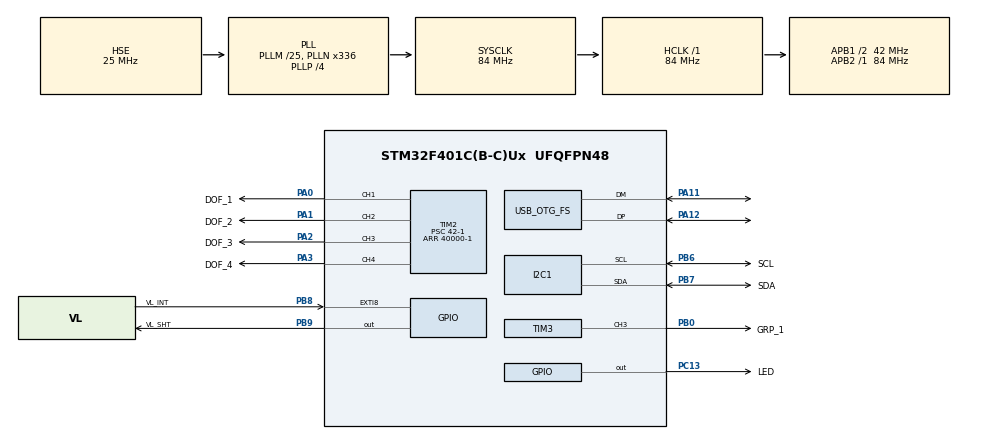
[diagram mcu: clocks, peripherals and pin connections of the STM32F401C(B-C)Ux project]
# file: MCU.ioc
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I2C1.I2C_Mode=I2C_Standard
Mcu.Family=STM32F4
Mcu.Name=STM32F401C(B-C)Ux
Mcu.Package=UFQFPN48
NVIC.EXTI9_5_IRQn=true\:0\:0\:false\:false\:true\:true\:true\:true
NVIC.OTG_FS_IRQn=true\:0\:0\:false\:false\:true\:false\:true\:true
NVIC.PriorityGroup=NVIC_PRIORITYGROUP_4
PA0-WKUP.GPIO_Label=DOF_1
PA0-WKUP.GPIO_Speed=GPIO_SPEED_FREQ_HIGH
PA0-WKUP.Signal=S_TIM2_CH1_ETR
PA1.GPIO_Label=DOF_2
PA1.GPIO_Speed=GPIO_SPEED_FREQ_HIGH
PA1.Signal=S_TIM2_CH2
PA11.Mode=Device_Only
PA11.Signal=USB_OTG_FS_DM
PA12.Mode=Device_Only
PA12.Signal=USB_OTG_FS_DP
PA2.GPIO_Label=DOF_3
PA2.GPIO_Speed=GPIO_SPEED_FREQ_HIGH
PA2.Signal=S_TIM2_CH3
PA3.GPIO_Label=DOF_4
PA3.GPIO_Speed=GPIO_SPEED_FREQ_HIGH
PA3.Signal=S_TIM2_CH4
PB0.GPIO_Label=GRP_1
PB0.GPIO_Speed=GPIO_SPEED_FREQ_HIGH
PB0.Signal=S_TIM3_CH3
PB6.GPIO_Label=SCL
PB6.GPIO_Speed=GPIO_SPEED_FREQ_VERY_HIGH
PB6.Mode=I2C
PB6.Signal=I2C1_SCL
PB7.GPIO_Label=SDA
PB7.GPIO_Speed=GPIO_SPEED_FREQ_VERY_HIGH
PB7.Mode=I2C
PB7.Signal=I2C1_SDA
PB8.GPIO_Label=VL_INT
PB8.GPIO_ModeDefaultEXTI=GPIO_MODE_IT_RISING
PB8.Signal=GPXTI8
PB9.GPIO_Label=VL_SHT
PB9.PinState=GPIO_PIN_SET
PB9.Signal=GPIO_Output
PC13-ANTI_TAMP.GPIO_Label=LED
PC13-ANTI_TAMP.Signal=GPIO_Output
PH0\ -\ OSC_IN.Mode=HSE-External-Oscillator
PH0\ -\ OSC_IN.Signal=RCC_OSC_IN
PH1\ -\ OSC_OUT.Mode=HSE-External-Oscillator
PH1\ -\ OSC_OUT.Signal=RCC_OSC_OUT
ProjectManager.HeapSize=0x200
ProjectManager.StackSize=0x400
ProjectManager.TargetToolchain=STM32CubeIDE
RCC.48MHZClocksFreq_Value=48000000
RCC.AHBFreq_Value=84000000
RCC.APB1CLKDivider=RCC_HCLK_DIV2
RCC.APB1Freq_Value=42000000
RCC.APB1TimFreq_Value=84000000
RCC.APB2Freq_Value=84000000
RCC.APB2TimFreq_Value=84000000
RCC.CortexFreq_Value=84000000
RCC.HCLKFreq_Value=84000000
RCC.HSE_VALUE=25000000
RCC.HSI_VALUE=16000000
RCC.LSE_VALUE=32768
RCC.PLLM=25
RCC.PLLN=336
RCC.PLLP=RCC_PLLP_DIV4
RCC.PLLQ=7
RCC.SYSCLKFreq_VALUE=84000000
RCC.SYSCLKSource=RCC_SYSCLKSOURCE_PLLCLK
RCC.VCOOutputFreq_Value=336000000
SH.S_TIM2_CH1_ETR.0=TIM2_CH1,PWM Generation1 CH1
SH.S_TIM2_CH2.0=TIM2_CH2,PWM Generation2 CH2
SH.S_TIM2_CH3.0=TIM2_CH3,PWM Generation3 CH3
SH.S_TIM2_CH4.0=TIM2_CH4,PWM Generation4 CH4
SH.S_TIM3_CH3.0=TIM3_CH3,PWM Generation3 CH3
TIM2.Channel-PWM\ Generation1\ CH1=TIM_CHANNEL_1
TIM2.Channel-PWM\ Generation2\ CH2=TIM_CHANNEL_2
TIM2.Channel-PWM\ Generation3\ CH3=TIM_CHANNEL_3
TIM2.Channel-PWM\ Generation4\ CH4=TIM_CHANNEL_4
TIM2.Period=40000-1
TIM2.Prescaler=42-1
TIM3.Channel-PWM\ Generation3\ CH3=TIM_CHANNEL_3
TIM3.Period=40000-1
TIM3.Prescaler=42-1
USB_DEVICE.CLASS_NAME_FS=CDC
USB_DEVICE.CONFIGURATION_STRING_CDC_FS=ARb Config
USB_DEVICE.INTERFACE_STRING_CDC_FS=ARb Interface
USB_DEVICE.MANUFACTURER_STRING=0x52525A
USB_DEVICE.PID_CDC_FS=52525
USB_DEVICE.PRODUCT_STRING_CDC_FS=ARb Virtual COM
USB_DEVICE.VID=1235
USB_DEVICE.VirtualMode=Cdc
USB_DEVICE.VirtualModeFS=Cdc_FS
USB_OTG_FS.VirtualMode=Device_Only
USB_OTG_FS.low_power_enable=DISABLE
USB_OTG_FS.lpm_enable=DISABLE
VP_TIM2_VS_ClockSourceINT.Mode=Internal
VP_TIM3_VS_ClockSourceINT.Mode=Internal
VP_USB_DEVICE_VS_USB_DEVICE_CDC_FS.Mode=CDC_FS
board=custom

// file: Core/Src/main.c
/* USER CODE BEGIN Header */
/**
 ******************************************************************************
 * @file           : main.c
 * @brief          : Main program body
 ******************************************************************************
 * @attention
 *
 * Copyright (c) 2024 STMicroelectronics.
 * All rights reserved.
 *
 * This software is licensed under terms that can be found in the LICENSE file
 * in the root directory of this software component.
 * If no LICENSE file comes with this software, it is provided AS-IS.
 *
 ******************************************************************************
 */
/* USER CODE END Header */
#include "main.h"
#include "usb_device.h"

/* USER CODE BEGIN Includes */
#include "servo.h"
#include "usbd_cdc_if.h"
#include "cmd_handler.h"
//#include "custom_daq.h"
#include "vl53l0x_api.h"
/* USER CODE END Includes */

/* USER CODE BEGIN PD */
#define INRANGE(x,m,M)(x > m && x < M)
/* USER CODE END PD */

I2C_HandleTypeDef hi2c1;

TIM_HandleTypeDef htim2;
TIM_HandleTypeDef htim3;

/* USER CODE BEGIN PV */
Servo_t dof1, dof2, dof3, dof4, grp1;

volatile stat_t process = { 0, 0, 0, 0, 0, 0, 0, 0, 0, 0, 0, 0 };
char rxBuff[BUFLEN], txBuff[BUFLEN];

VL53L0X_Dev_t tof;
VL53L0X_RangingMeasurementData_t rangeData;

/* USER CODE END PV */

void SystemClock_Config(void);
static void MX_GPIO_Init(void);
static void MX_TIM2_Init(void);
static void MX_TIM3_Init(void);
static void MX_I2C1_Init(void);
/* USER CODE BEGIN PFP */
void Sensor_Init(void);
void Actuator_Init(void);
/* USER CODE END PFP */

/* USER CODE BEGIN 0 */
void HAL_GPIO_EXTI_Callback(uint16_t GPIO_PIN) {
	process.sensor = 1;

	//Custom_DAQ();
}
/* USER CODE END 0 */

int main(void) {

	/* MCU Configuration--------------------------------------------------------*/

	/* Reset of all peripherals, Initializes the Flash interface and the Systick. */
	HAL_Init();

	/* Configure the system clock */
	SystemClock_Config();

	/* Initialize all configured peripherals */
	MX_GPIO_Init();
	MX_TIM2_Init();
	MX_TIM3_Init();
	MX_USB_DEVICE_Init();
	MX_I2C1_Init();
	/* USER CODE BEGIN 2 */
	HAL_Delay(1000);
	Sensor_Init();
	Actuator_Init();
	/* USER CODE END 2 */

	/* Infinite loop */
	/* USER CODE BEGIN WHILE */
	while (1) {
		if (process.sensor) {
			process.sensor = 0;
			VL53L0X_RangingMeasurementData_t range;
			VL53L0X_GetRangingMeasurementData(&tof, &range);
			if (range.RangeStatus == 0) {
				rangeData = range;
			}

			uint8_t n = 0;
			while (VL53L0X_ClearInterruptMask(&tof, 0) != VL53L0X_ERROR_NONE) {
				if (n == 16) {
					if (VL53L0X_ResetDevice(&tof) == VL53L0X_ERROR_NONE) {
						Sensor_Init();
					}
				}
				n++;
			}
		}

		if (process.computer) {
			process.computer = 0;
			parseCommand(rxBuff);
			if (process.transmit) {
				process.transmit = 0;
				snprintf(txBuff, BUFLEN, "DIST:%u ROT0:%u RAW0:%lu"
						" ROT1:%u RAW1:%lu ROT2:%u RAW2:%lu"
						" ROT3:%u RAW3:%lu ROT4:%u RAW4:%lu\n",
						rangeData.RangeMilliMeter, grp1.rotDegree,
						htim3.Instance->CCR3, dof1.rotDegree,
						htim2.Instance->CCR1, dof2.rotDegree,
						htim2.Instance->CCR2, dof3.rotDegree,
						htim2.Instance->CCR3, dof4.rotDegree,
						htim2.Instance->CCR4);
				CDC_Transmit_FS((uint8_t*) txBuff, strlen(txBuff));
			}
		}

		if (process.scan && rangeData.TimeStamp != process.timestamp) {
			if (rangeData.RangeMilliMeter <= process.rangeTh) {
				if (process.scanMode == 1) {
					process.scan = 0;
				} else {
					if (process.capturedCCR == 0) {
						process.capturedCCR = process.currentCCR;
					}
					if (!INRANGE(process.currentCCR + process.scanInc,
							process.minScan, process.maxScan)) {
						process.scanInc = -process.scanInc;
					}
					process.currentCCR += process.scanInc;
				}
			} else if (process.capturedCCR != 0) {
				if (process.scanMode == 2) {
					process.scan = 0;
					process.currentCCR -= process.scanInc;
				} else {
					process.scan = 0;
					process.currentCCR = process.capturedCCR
							+ (process.currentCCR - process.capturedCCR) / 2;
				}
			} else {
				if (!INRANGE(process.currentCCR + process.scanInc,
						process.minScan, process.maxScan)) {
					process.scanInc = -process.scanInc;
				}
				process.currentCCR += process.scanInc;
			}
			process.timestamp = rangeData.TimeStamp;
			Servo_setCCR(&dof1, process.currentCCR);
		}

		/* USER CODE END WHILE */

	}
}

void SystemClock_Config(void) {
	RCC_OscInitTypeDef RCC_OscInitStruct = { 0 };
	RCC_ClkInitTypeDef RCC_ClkInitStruct = { 0 };

	/** Configure the main internal regulator output voltage
	 */
	__HAL_RCC_PWR_CLK_ENABLE();
	__HAL_PWR_VOLTAGESCALING_CONFIG(PWR_REGULATOR_VOLTAGE_SCALE2);

	/** Initializes the RCC Oscillators according to the specified parameters
	 * in the RCC_OscInitTypeDef structure.
	 */
	RCC_OscInitStruct.OscillatorType = RCC_OSCILLATORTYPE_HSE;
	RCC_OscInitStruct.HSEState = RCC_HSE_ON;
	RCC_OscInitStruct.PLL.PLLState = RCC_PLL_ON;
	RCC_OscInitStruct.PLL.PLLSource = RCC_PLLSOURCE_HSE;
	RCC_OscInitStruct.PLL.PLLM = 25;
	RCC_OscInitStruct.PLL.PLLN = 336;
	RCC_OscInitStruct.PLL.PLLP = RCC_PLLP_DIV4;
	RCC_OscInitStruct.PLL.PLLQ = 7;
	if (HAL_RCC_OscConfig(&RCC_OscInitStruct) != HAL_OK) {
		Error_Handler();
	}

	/** Initializes the CPU, AHB and APB buses clocks
	 */
	RCC_ClkInitStruct.ClockType = RCC_CLOCKTYPE_HCLK | RCC_CLOCKTYPE_SYSCLK
			| RCC_CLOCKTYPE_PCLK1 | RCC_CLOCKTYPE_PCLK2;
	RCC_ClkInitStruct.SYSCLKSource = RCC_SYSCLKSOURCE_PLLCLK;
	RCC_ClkInitStruct.AHBCLKDivider = RCC_SYSCLK_DIV1;
	RCC_ClkInitStruct.APB1CLKDivider = RCC_HCLK_DIV2;
	RCC_ClkInitStruct.APB2CLKDivider = RCC_HCLK_DIV1;

	if (HAL_RCC_ClockConfig(&RCC_ClkInitStruct, FLASH_LATENCY_2) != HAL_OK) {
		Error_Handler();
	}
}

static void MX_I2C1_Init(void) {

	hi2c1.Instance = I2C1;
	hi2c1.Init.ClockSpeed = 100000;
	hi2c1.Init.DutyCycle = I2C_DUTYCYCLE_2;
	hi2c1.Init.OwnAddress1 = 0;
	hi2c1.Init.AddressingMode = I2C_ADDRESSINGMODE_7BIT;
	hi2c1.Init.DualAddressMode = I2C_DUALADDRESS_DISABLE;
	hi2c1.Init.OwnAddress2 = 0;
	hi2c1.Init.GeneralCallMode = I2C_GENERALCALL_DISABLE;
	hi2c1.Init.NoStretchMode = I2C_NOSTRETCH_DISABLE;
	if (HAL_I2C_Init(&hi2c1) != HAL_OK) {
		Error_Handler();
	}

}

static void MX_TIM2_Init(void) {

	TIM_ClockConfigTypeDef sClockSourceConfig = { 0 };
	TIM_MasterConfigTypeDef sMasterConfig = { 0 };
	TIM_OC_InitTypeDef sConfigOC = { 0 };

	htim2.Instance = TIM2;
	htim2.Init.Prescaler = 42 - 1;
	htim2.Init.CounterMode = TIM_COUNTERMODE_UP;
	htim2.Init.Period = 40000 - 1;
	htim2.Init.ClockDivision = TIM_CLOCKDIVISION_DIV1;
	htim2.Init.AutoReloadPreload = TIM_AUTORELOAD_PRELOAD_DISABLE;
	if (HAL_TIM_Base_Init(&htim2) != HAL_OK) {
		Error_Handler();
	}
	sClockSourceConfig.ClockSource = TIM_CLOCKSOURCE_INTERNAL;
	if (HAL_TIM_ConfigClockSource(&htim2, &sClockSourceConfig) != HAL_OK) {
		Error_Handler();
	}
	if (HAL_TIM_PWM_Init(&htim2) != HAL_OK) {
		Error_Handler();
	}
	sMasterConfig.MasterOutputTrigger = TIM_TRGO_RESET;
	sMasterConfig.MasterSlaveMode = TIM_MASTERSLAVEMODE_DISABLE;
	if (HAL_TIMEx_MasterConfigSynchronization(&htim2, &sMasterConfig)
			!= HAL_OK) {
		Error_Handler();
	}
	sConfigOC.OCMode = TIM_OCMODE_PWM1;
	sConfigOC.Pulse = 0;
	sConfigOC.OCPolarity = TIM_OCPOLARITY_HIGH;
	sConfigOC.OCFastMode = TIM_OCFAST_DISABLE;
	if (HAL_TIM_PWM_ConfigChannel(&htim2, &sConfigOC, TIM_CHANNEL_1)
			!= HAL_OK) {
		Error_Handler();
	}
	if (HAL_TIM_PWM_ConfigChannel(&htim2, &sConfigOC, TIM_CHANNEL_2)
			!= HAL_OK) {
		Error_Handler();
	}
	if (HAL_TIM_PWM_ConfigChannel(&htim2, &sConfigOC, TIM_CHANNEL_3)
			!= HAL_OK) {
		Error_Handler();
	}
	if (HAL_TIM_PWM_ConfigChannel(&htim2, &sConfigOC, TIM_CHANNEL_4)
			!= HAL_OK) {
		Error_Handler();
	}
	HAL_TIM_MspPostInit(&htim2);

}

static void MX_TIM3_Init(void) {

	TIM_ClockConfigTypeDef sClockSourceConfig = { 0 };
	TIM_MasterConfigTypeDef sMasterConfig = { 0 };
	TIM_OC_InitTypeDef sConfigOC = { 0 };

	htim3.Instance = TIM3;
	htim3.Init.Prescaler = 42 - 1;
	htim3.Init.CounterMode = TIM_COUNTERMODE_UP;
	htim3.Init.Period = 40000 - 1;
	htim3.Init.ClockDivision = TIM_CLOCKDIVISION_DIV1;
	htim3.Init.AutoReloadPreload = TIM_AUTORELOAD_PRELOAD_DISABLE;
	if (HAL_TIM_Base_Init(&htim3) != HAL_OK) {
		Error_Handler();
	}
	sClockSourceConfig.ClockSource = TIM_CLOCKSOURCE_INTERNAL;
	if (HAL_TIM_ConfigClockSource(&htim3, &sClockSourceConfig) != HAL_OK) {
		Error_Handler();
	}
	if (HAL_TIM_PWM_Init(&htim3) != HAL_OK) {
		Error_Handler();
	}
	sMasterConfig.MasterOutputTrigger = TIM_TRGO_RESET;
	sMasterConfig.MasterSlaveMode = TIM_MASTERSLAVEMODE_DISABLE;
	if (HAL_TIMEx_MasterConfigSynchronization(&htim3, &sMasterConfig)
			!= HAL_OK) {
		Error_Handler();
	}
	sConfigOC.OCMode = TIM_OCMODE_PWM1;
	sConfigOC.Pulse = 0;
	sConfigOC.OCPolarity = TIM_OCPOLARITY_HIGH;
	sConfigOC.OCFastMode = TIM_OCFAST_DISABLE;
	if (HAL_TIM_PWM_ConfigChannel(&htim3, &sConfigOC, TIM_CHANNEL_3)
			!= HAL_OK) {
		Error_Handler();
	}
	HAL_TIM_MspPostInit(&htim3);

}

static void MX_GPIO_Init(void) {
	GPIO_InitTypeDef GPIO_InitStruct = { 0 };

	/* GPIO Ports Clock Enable */
	__HAL_RCC_GPIOC_CLK_ENABLE();
	__HAL_RCC_GPIOH_CLK_ENABLE();
	__HAL_RCC_GPIOA_CLK_ENABLE();
	__HAL_RCC_GPIOB_CLK_ENABLE();

	/*Configure GPIO pin Output Level */
	HAL_GPIO_WritePin(LED_GPIO_Port, LED_Pin, GPIO_PIN_RESET);

	/*Configure GPIO pin Output Level */
	HAL_GPIO_WritePin(VL_SHT_GPIO_Port, VL_SHT_Pin, GPIO_PIN_SET);

	/*Configure GPIO pin : LED_Pin */
	GPIO_InitStruct.Pin = LED_Pin;
	GPIO_InitStruct.Mode = GPIO_MODE_OUTPUT_PP;
	GPIO_InitStruct.Pull = GPIO_NOPULL;
	GPIO_InitStruct.Speed = GPIO_SPEED_FREQ_LOW;
	HAL_GPIO_Init(LED_GPIO_Port, &GPIO_InitStruct);

	/*Configure GPIO pin : VL_INT_Pin */
	GPIO_InitStruct.Pin = VL_INT_Pin;
	GPIO_InitStruct.Mode = GPIO_MODE_IT_RISING;
	GPIO_InitStruct.Pull = GPIO_NOPULL;
	HAL_GPIO_Init(VL_INT_GPIO_Port, &GPIO_InitStruct);

	/*Configure GPIO pin : VL_SHT_Pin */
	GPIO_InitStruct.Pin = VL_SHT_Pin;
	GPIO_InitStruct.Mode = GPIO_MODE_OUTPUT_PP;
	GPIO_InitStruct.Pull = GPIO_NOPULL;
	GPIO_InitStruct.Speed = GPIO_SPEED_FREQ_LOW;
	HAL_GPIO_Init(VL_SHT_GPIO_Port, &GPIO_InitStruct);

	/* EXTI interrupt init*/

}

/* USER CODE BEGIN 4 */
void Sensor_Init(void) {
	uint8_t VhvSettings;
	uint8_t PhaseCal;
	uint32_t refSpadCount;
	uint8_t isApertureSpads;
// Long Range Profile
	FixPoint1616_t signalLimit = (FixPoint1616_t) (0.25 * 65536);
	FixPoint1616_t sigmaLimit = (FixPoint1616_t) (32 * 65536);
	uint32_t timingBudget = 20000;
	//uint8_t preRangeVcselPeriod = 18;
	//uint8_t finalRangeVcselPeriod = 14;

	tof.I2cHandle = &hi2c1;
	tof.I2cDevAddr = 0x52;
	tof.comms_type = 1;
	tof.comms_speed_khz = 100;

	VL53L0X_DataInit(&tof);
	VL53L0X_StaticInit(&tof);
	VL53L0X_PerformRefSpadManagement(&tof, &refSpadCount, &isApertureSpads);
	VL53L0X_PerformRefCalibration(&tof, &VhvSettings, &PhaseCal);

	VL53L0X_SetLimitCheckEnable(&tof,
	VL53L0X_CHECKENABLE_SIGMA_FINAL_RANGE, 1);
	VL53L0X_SetLimitCheckEnable(&tof,
	VL53L0X_CHECKENABLE_SIGNAL_RATE_FINAL_RANGE, 1);
	VL53L0X_SetLimitCheckValue(&tof,
	VL53L0X_CHECKENABLE_SIGNAL_RATE_FINAL_RANGE, signalLimit);
	VL53L0X_SetLimitCheckValue(&tof,
	VL53L0X_CHECKENABLE_SIGMA_FINAL_RANGE, sigmaLimit);
	VL53L0X_SetMeasurementTimingBudgetMicroSeconds(&tof, timingBudget);
//	VL53L0X_SetVcselPulsePeriod(&tof, VL53L0X_VCSEL_PERIOD_PRE_RANGE,
//			preRangeVcselPeriod);
//	VL53L0X_SetVcselPulsePeriod(&tof, VL53L0X_VCSEL_PERIOD_FINAL_RANGE,
//			finalRangeVcselPeriod);
	VL53L0X_SetGpioConfig(&tof, 0, VL53L0X_DEVICEMODE_CONTINUOUS_RANGING,
	VL53L0X_GPIOFUNCTIONALITY_NEW_MEASURE_READY,
	VL53L0X_INTERRUPTPOLARITY_HIGH);
	VL53L0X_SetDeviceMode(&tof, VL53L0X_DEVICEMODE_CONTINUOUS_RANGING);
	VL53L0X_StartMeasurement(&tof);

	HAL_NVIC_SetPriority(EXTI9_5_IRQn, 0, 0);
	HAL_NVIC_EnableIRQ(EXTI9_5_IRQn);
}

void Actuator_Init(void) {
	Servo_Init(&dof1, &htim2, TIM2, 1, 1000, 4999);
	Servo_Init(&dof2, &htim2, TIM2, 2, 1000, 4999);
	Servo_Init(&dof3, &htim2, TIM2, 3, 1000, 4999);
	Servo_Init(&dof4, &htim2, TIM2, 4, 1000, 4999);
	Servo_Init(&grp1, &htim3, TIM3, 3, 1000, 4999);
}
/* USER CODE END 4 */

void Error_Handler(void) {
	/* USER CODE BEGIN Error_Handler_Debug */

	HAL_GPIO_WritePin(LED_GPIO_Port, LED_Pin, GPIO_PIN_SET);
	HAL_Delay(2000);
	NVIC_SystemReset();

	/* User can add his own implementation to report the HAL error return state */
	__disable_irq();
	while (1) {
	}
	/* USER CODE END Error_Handler_Debug */
}
